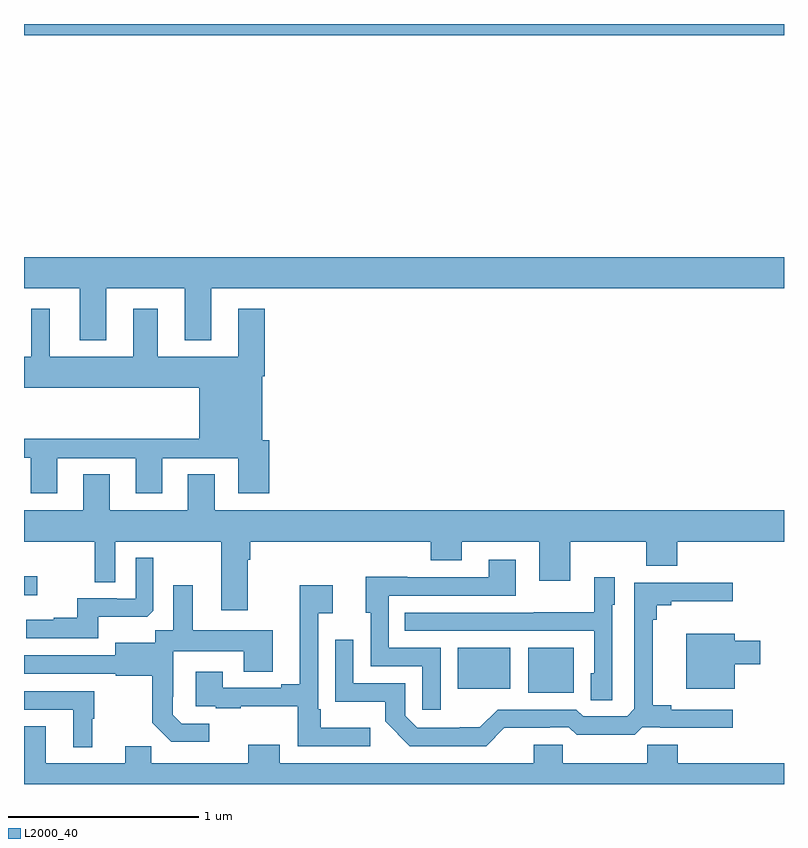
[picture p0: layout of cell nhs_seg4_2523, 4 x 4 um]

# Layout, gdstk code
import gdstk
lib = gdstk.Library(unit=1e-6, precision=1e-09)
def R(c, l, rs):  # rectangles x0, y0, x1, y1
    for r in rs: c.add(gdstk.rectangle(r[:2], r[2:], *l))
def P(c, l, *ps):  # polygons
    for p in ps: c.add(gdstk.Polygon(p, *l))
L2000_40 = (2000, 40)

nhs_seg4_2523 = lib.new_cell('nhs_seg4_2523')
R(nhs_seg4_2523, L2000_40, [(245.654,773.381,245.893,773.617), (245.282,773.402,245.56,773.617), (243,773.894,243.07,773.993), (243,776.84,247,776.9)])
P(nhs_seg4_2523, L2000_40, [(243.433,775.508),(243.845,775.508),(243.845,775.235),(243.985,775.235),(243.985,775.508),(247,775.508),(247,775.672),(243,775.672),(243,775.508),(243.293,775.508),(243.293,775.235),(243.433,775.235)],
  [(243.175,774.615),(243.587,774.615),(243.587,774.429),(243.727,774.429),(243.727,774.615),(244.127,774.615),(244.127,774.429),(244.292,774.429),(244.292,774.708),(244.255,774.708),(244.255,775.046),(244.268,775.046),(244.268,775.402),(244.127,775.402),(244.127,775.15),(243.703,775.15),(243.703,775.402),(243.575,775.402),(243.575,775.15),(243.136,775.15),(243.136,775.402),(243.038,775.402),(243.038,775.15),(243,775.15),(243,774.986),(243.923,774.986),(243.923,774.716),(243,774.716),(243,774.618),(243.035,774.618),(243.035,774.429),(243.175,774.429)],
  [(244.177,774.08),(244.19,774.08),(244.19,774.176),(245.141,774.176),(245.141,774.077),(245.305,774.077),(245.305,774.176),(245.711,774.176),(245.711,773.97),(245.875,773.97),(245.875,774.176),(246.275,774.176),(246.275,774.048),(246.439,774.048),(246.439,774.176),(247,774.176),(247,774.34),(244.003,774.34),(244.003,774.53),(243.863,774.53),(243.863,774.34),(243.451,774.34),(243.451,774.53),(243.311,774.53),(243.311,774.34),(243,774.34),(243,774.176),(243.372,774.176),(243.372,773.962),(243.48,773.962),(243.48,774.176),(244.037,774.176),(244.037,773.814),(244.177,773.814)],
  [(243.391,773.78),(243.649,773.78),(243.681,773.811),(243.681,774.091),(243.588,774.091),(243.588,773.874),(243.488,773.874),(243.488,773.877),(243.281,773.877),(243.281,773.776),(243.157,773.776),(243.157,773.764),(243.013,773.764),(243.013,773.667),(243.391,773.667)],
  [(245.193,773.616),(244.92,773.616),(244.92,773.892),(245.587,773.892),(245.587,774.079),(245.447,774.079),(245.447,773.988),(245.017,773.988),(245.017,773.99),(244.799,773.99),(244.799,773.802),(244.824,773.802),(244.824,773.52),(245.097,773.52),(245.097,773.292),(245.193,773.292)],
  [(246.096,773.844),(246.109,773.844),(246.109,773.989),(246,773.989),(246,773.803),(245.683,773.803),(245.683,773.802),(245.005,773.802),(245.005,773.706),(246,773.706),(246,773.484),(245.984,773.484),(245.984,773.341),(246.096,773.341)],
  [(245.528,773.195),(245.768,773.195),(245.768,773.199),(245.868,773.199),(245.908,773.16),(246.215,773.16),(246.255,773.199),(246.349,773.199),(246.349,773.195),(246.73,773.195),(246.73,773.292),(246.406,773.292),(246.406,773.315),(246.31,773.315),(246.31,773.765),(246.329,773.765),(246.329,773.842),(246.406,773.842),(246.406,773.861),(246.73,773.861),(246.73,773.958),(246.213,773.958),(246.213,773.295),(246.174,773.256),(245.943,773.256),(245.907,773.292),(245.493,773.292),(245.399,773.198),(245.294,773.198),(245.294,773.196),(245.07,773.196),(245.007,773.259),(245.007,773.43),(244.734,773.43),(244.734,773.659),(244.638,773.659),(244.638,773.333),(244.9,773.333),(244.9,773.231),(245.03,773.1),(245.433,773.1)],
  [(244.822,773.197),(244.561,773.197),(244.561,773.293),(244.548,773.293),(244.548,773.798),(244.624,773.798),(244.624,773.947),(244.451,773.947),(244.451,773.425),(244.355,773.425),(244.355,773.406),(244.045,773.406),(244.045,773.491),(243.905,773.491),(243.905,773.31),(244.009,773.31),(244.009,773.298),(244.141,773.298),(244.141,773.309),(244.44,773.309),(244.44,773.1),(244.822,773.1)],
  [(243.976,773.217),(243.831,773.217),(243.784,773.264),(243.784,773.359),(243.786,773.359),(243.786,773.6),(244.157,773.6),(244.157,773.491),(244.309,773.491),(244.309,773.71),(243.889,773.71),(243.889,773.947),(243.785,773.947),(243.785,773.708),(243.69,773.708),(243.69,773.644),(243.479,773.644),(243.479,773.577),(243,773.577),(243,773.481),(243.483,773.481),(243.483,773.469),(243.675,773.469),(243.675,773.223),(243.775,773.123),(243.976,773.123)],
  [(246.742,773.531),(246.874,773.531),(246.874,773.653),(246.742,773.653),(246.742,773.692),(246.485,773.692),(246.485,773.402),(246.742,773.402)],
  [(243.358,773.244),(243.37,773.244),(243.37,773.388),(243,773.388),(243,773.292),(243.26,773.292),(243.26,773.093),(243.358,773.093)],
  [(247,773.008),(246.44,773.008),(246.44,773.106),(246.28,773.106),(246.28,773.008),(245.835,773.008),(245.835,773.106),(245.684,773.106),(245.684,773.008),(244.345,773.008),(244.345,773.107),(244.181,773.107),(244.181,773.008),(243.671,773.008),(243.671,773.099),(243.533,773.099),(243.533,773.008),(243.115,773.008),(243.115,773.203),(243,773.203),(243,772.9),(247,772.9)])

lib.write_gds('nhs_seg4_2523.gds')
